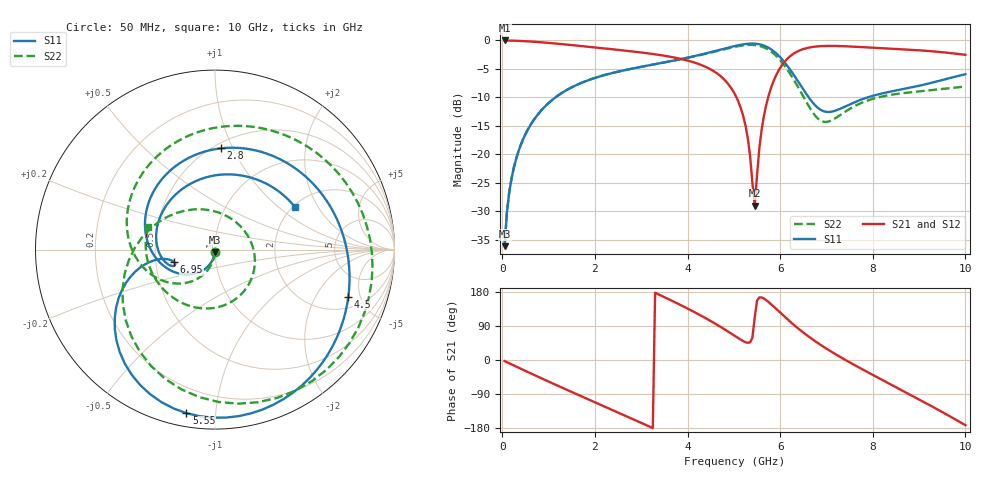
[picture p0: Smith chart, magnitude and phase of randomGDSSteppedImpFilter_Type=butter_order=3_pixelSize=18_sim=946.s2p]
! freq	dB(S11)	phase(S11)	dB(S12)	phase(S12)
!  dB(S21)	phase(S21)	dB(S22)	phase(S22)
!S-par simulation data
#  GHz  S  DB  R 50
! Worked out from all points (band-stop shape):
!   200 points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, 50 MHz to 10 GHz, reference 50 ohm
!   highest |S21| = -0.01 dB at 50 MHz (marker M1); lowest = -29.0 dB at 5.45 GHz (marker M2)
!   |S21| within 3 dB of the highest: start of sweep to 3.719 GHz; 6.183 GHz to end of sweep
!   lowest |S11| = -36.1 dB at 50 MHz (marker M3), VSWR 1.03, Z = 49.9 - j1.56 ohm
!   |S11| at or under -10 dB: start of sweep to 1.149 GHz; 6.618 GHz to 7.888 GHz (1.27 GHz wide, 17.5 % of centre)
!   |S22| runs from -36.1 to -0.8 dB; largest |S21 - S12| = 0
!   S11 on the Smith chart (normalised r, x): 50 MHz: 1.00, -0.03; 2.8 GHz: 0.54, +0.90; 4.5 GHz: 2.76, -3.88; 5.55 GHz: 0.07, -0.84; 6.95 GHz: 0.62, -0.09; 10 GHz: 2.06, +1.30
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0.05  -36.12 -93.1  -0.01 -2.9  -0.01 -2.9  -36.11 -92.1
0.2  -24.21 -103.8  -0.03 -11.6  -0.03 -11.6  -24.20 -99.9
0.5  -16.47 -124.1  -0.14 -28.8  -0.14 -28.8  -16.45 -114.5
1.15  -9.99 -167.2  -0.54 -65.3  -0.54 -65.3  -9.98 -144.7
1.75  -7.32 153.9  -1.02 -98.0  -1.02 -98.0  -7.30 -171.2
2.8  -4.95 86.6  -1.93 -154.7  -1.93 -154.7  -4.95 142.7
3.4  -4.01 48.6  -2.56 171.7  -2.56 171.7  -4.02 113.4
4  -3.02 11.5  -3.53 135.8  -3.53 135.8  -3.06 78.9
4.5  -2.06 -19.7  -5.09 102.9  -5.09 102.9  -2.14 43.6
5.05  -0.93 -57.5  -9.88 61.3  -9.88 61.3  -1.08 -6.3
5.3  -0.59 -77.5  -17.10 45.3  -17.10 45.3  -0.80 -34.6
5.45  -0.57 -90.7  -29.01 111.2  -29.01 111.2  -0.82 -53.6
5.55  -0.68 -99.9  -18.96 165.1  -18.96 165.1  -0.96 -67.2
5.75  -1.29 -119.0  -9.71 153.0  -9.71 153.0  -1.65 -96.0
6.05  -3.40 -145.7  -4.22 119.5  -4.22 119.5  -3.96 -141.7
6.4  -7.35 -166.5  -1.83 82.1  -1.83 82.1  -8.38 162.7
6.7  -10.88 -169.6  -1.15 54.4  -1.15 54.4  -12.58 107.2
6.95  -12.46 -163.1  -0.98 33.8  -0.98 33.8  -14.30 53.4
7.6  -10.88 -166.0  -1.10 -12.9  -1.10 -12.9  -11.57 -41.6
8.35  -9.04 151.7  -1.43 -61.8  -1.43 -61.8  -9.61 -97.3
9.1  -7.77 94.2  -1.79 -110.6  -1.79 -110.6  -8.86 -139.3
10  -5.94 27.9  -2.53 -172.0  -2.53 -172.0  -8.12 160.9
